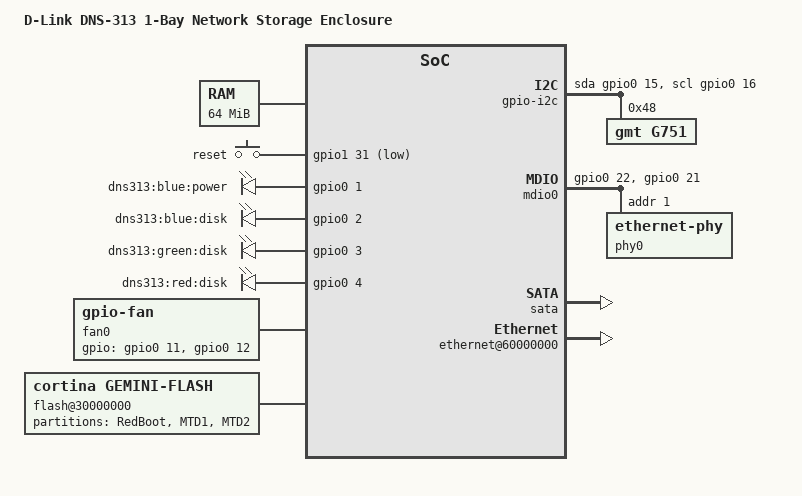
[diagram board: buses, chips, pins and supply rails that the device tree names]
// SPDX-License-Identifier: GPL-2.0
/*
 * Device Tree file for D-Link DNS-313 1-Bay Network Storage Enclosure
 */

/dts-v1/;

#include "gemini.dtsi"
#include <dt-bindings/input/input.h>
#include <dt-bindings/thermal/thermal.h>

/ {
	model = "D-Link DNS-313 1-Bay Network Storage Enclosure";
	compatible = "dlink,dns-313", "cortina,gemini";
	#address-cells = <1>;
	#size-cells = <1>;

	memory@0 {
		/* 64 MB SDRAM in a Nanya NT5DS32M16BS-6K package */
		device_type = "memory";
		reg = <0x00000000 0x4000000>;
	};

	aliases {
		mdio-gpio0 = &mdio0;
	};

	chosen {
		bootargs = "console=ttyS0,19200n8 root=/dev/sda4 rw rootwait";
		stdout-path = "uart0:19200n8";
	};

	gpio_keys {
		compatible = "gpio-keys";

		button-esc {
			debounce-interval = <100>;
			wakeup-source;
			linux,code = <KEY_ESC>;
			label = "reset";
			gpios = <&gpio1 31 GPIO_ACTIVE_LOW>;
		};
	};

	leds {
		compatible = "gpio-leds";
		led-power {
			label = "dns313:blue:power";
			gpios = <&gpio0 1 GPIO_ACTIVE_HIGH>;
			default-state = "on";
			linux,default-trigger = "heartbeat";
		};
		led-disk-blue {
			label = "dns313:blue:disk";
			gpios = <&gpio0 2 GPIO_ACTIVE_HIGH>;
			default-state = "off";
		};
		led-disk-green {
			label = "dns313:green:disk";
			gpios = <&gpio0 3 GPIO_ACTIVE_HIGH>;
			default-state = "off";
			linux,default-trigger = "disk-read";
		};
		led-disk-red {
			label = "dns313:red:disk";
			gpios = <&gpio0 4 GPIO_ACTIVE_HIGH>;
			default-state = "off";
			linux,default-trigger = "disk-write";
		};
	};

	/*
	 * This is a ADDA AD0405GB-G73 fan @3000 and 6000 RPM.
	 */
	fan0: gpio-fan {
		compatible = "gpio-fan";
		gpios = <&gpio0 11 GPIO_ACTIVE_HIGH>,
			<&gpio0 12 GPIO_ACTIVE_HIGH>;
		gpio-fan,speed-map = <0 0>, <3000 1>, <6000 2>;
		#cooling-cells = <2>;
	};


	/* Global Mixed-Mode Technology G751 mounted on GPIO I2C */
	gpio-i2c {
		compatible = "i2c-gpio";
		sda-gpios = <&gpio0 15 (GPIO_ACTIVE_HIGH|GPIO_OPEN_DRAIN)>;
		scl-gpios = <&gpio0 16 (GPIO_ACTIVE_HIGH|GPIO_OPEN_DRAIN)>;
		#address-cells = <1>;
		#size-cells = <0>;

		g751: temperature-sensor@48 {
			compatible = "gmt,g751";
			reg = <0x48>;
			#thermal-sensor-cells = <0>;
		};
	};

	thermal-zones {
		chassis-thermal {
			/* Poll every 20 seconds */
			polling-delay = <20000>;
			/* Poll every 2nd second when cooling */
			polling-delay-passive = <2000>;

			thermal-sensors = <&g751>;

			/* Tripping points from the fan.script in the rootfs */
			trips {
				chassis_alert0: chassis-alert0 {
					/* At 43 degrees turn on low speed */
					temperature = <43000>;
					hysteresis = <3000>;
					type = "active";
				};
				chassis_alert1: chassis-alert1 {
					/* At 47 degrees turn on high speed */
					temperature = <47000>;
					hysteresis = <3000>;
					type = "active";
				};
				chassis_crit: chassis-crit {
					/* Just shut down at 60 degrees */
					temperature = <60000>;
					hysteresis = <2000>;
					type = "critical";
				};
			};

			cooling-maps {
				map0 {
					trip = <&chassis_alert0>;
					cooling-device = <&fan0 1 1>;
				};
				map1 {
					trip = <&chassis_alert1>;
					cooling-device = <&fan0 2 2>;
				};
			};
		};
	};

	mdio0: ethernet-phy {
		compatible = "virtual,mdio-gpio";
		/* Uses MDC and MDIO */
		gpios = <&gpio0 22 GPIO_ACTIVE_HIGH>, /* MDC */
			<&gpio0 21 GPIO_ACTIVE_HIGH>; /* MDIO */
		#address-cells = <1>;
		#size-cells = <0>;

		/* This is a Realtek RTL8211B Gigabit ethernet transceiver */
		phy0: ethernet-phy@1 {
			reg = <1>;
			device_type = "ethernet-phy";
		};
	};

	soc {
		flash@30000000 {
			/*
			 * This is a Eon EN29LV400AB 512 KiB flash with
			 * three partitions.
			 */
			compatible = "cortina,gemini-flash", "jedec-flash";
			status = "okay";
			reg = <0x30000000 0x00080000>;

			/*
			 * This "RedBoot" is the Storlink derivative.
			 */
			partition@0 {
				label = "RedBoot";
				reg = <0x00000000 0x00040000>;
				read-only;
			};
			partition@40000 {
				label = "MTD1";
				reg = <0x00040000 0x00020000>;
				read-only;
			};
			partition@60000 {
				label = "MTD2";
				reg = <0x00060000 0x00020000>;
				read-only;
			};
		};

		syscon: syscon@40000000 {
			pinctrl {
				/*
				 */
				gpio0_default_pins: pinctrl-gpio0 {
					mux {
						function = "gpio0";
						groups =
						/* Used by LEDs conflicts ICE */
						"gpio0bgrp",
						/* Used by ? conflicts ICE */
						"gpio0cgrp",
						/*
						 * Used by fan & G751, conflicts LPC,
						 * UART modem lines, SSP
						 */
						"gpio0egrp",
						/* Used by G751 */
						"gpio0fgrp",
						/* Used by MDIO */
						"gpio0igrp";
					};
				};
				gpio1_default_pins: pinctrl-gpio1 {
					mux {
						function = "gpio1";
						/* Used by "reset" button */
						groups = "gpio1dgrp";
					};
				};
				pinctrl-gmii {
					mux {
						function = "gmii";
						groups = "gmii_gmac0_grp";
					};
					/*
					 * In the vendor Linux tree, these values are set for the C3
					 * version of the SL3512 ASIC with the comment "benson suggest"
					 */
					conf0 {
						pins = "R8 GMAC0 RXDV", "U11 GMAC1 RXDV";
						skew-delay = <0>;
					};
					conf1 {
						pins = "T8 GMAC0 RXC";
						skew-delay = <10>;
					};
					conf2 {
						pins = "T11 GMAC1 RXC";
						skew-delay = <15>;
					};
					conf3 {
						pins = "P8 GMAC0 TXEN", "V11 GMAC1 TXEN";
						skew-delay = <7>;
					};
					conf4 {
						pins = "V7 GMAC0 TXC", "P10 GMAC1 TXC";
						skew-delay = <10>;
					};
					conf5 {
						/* The data lines all have default skew */
						pins = "U8 GMAC0 RXD0", "V8 GMAC0 RXD1",
						       "P9 GMAC0 RXD2", "R9 GMAC0 RXD3",
						       "R11 GMAC1 RXD0", "P11 GMAC1 RXD1",
						       "V12 GMAC1 RXD2", "U12 GMAC1 RXD3",
						       "R10 GMAC1 TXD0", "T10 GMAC1 TXD1",
						       "U10 GMAC1 TXD2", "V10 GMAC1 TXD3";
						skew-delay = <7>;
					};
					conf6 {
						pins = "U7 GMAC0 TXD0", "T7 GMAC0 TXD1",
						       "R7 GMAC0 TXD2", "P7 GMAC0 TXD3";
						skew-delay = <5>;
					};
					/* Set up drive strength on GMAC0 to 16 mA */
					conf7 {
						groups = "gmii_gmac0_grp";
						drive-strength = <16>;
					};
				};
			};
		};

		sata: sata@46000000 {
			/* The ROM uses this muxmode */
			cortina,gemini-ata-muxmode = <0>;
			cortina,gemini-enable-sata-bridge;
			status = "okay";
		};

		gpio0: gpio@4d000000 {
			pinctrl-names = "default";
			pinctrl-0 = <&gpio0_default_pins>;
		};

		gpio1: gpio@4e000000 {
			pinctrl-names = "default";
			pinctrl-0 = <&gpio1_default_pins>;
		};

		ethernet@60000000 {
			status = "okay";

			ethernet-port@0 {
				phy-mode = "rgmii";
				phy-handle = <&phy0>;
			};
			ethernet-port@1 {
				/* Not used in this platform */
			};
		};

		ata@63000000 {
			status = "okay";
		};
	};
};
